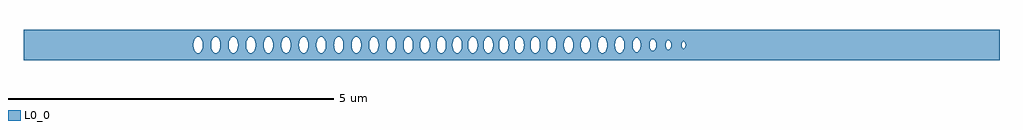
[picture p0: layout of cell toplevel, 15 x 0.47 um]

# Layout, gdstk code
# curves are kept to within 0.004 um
import gdstk
lib = gdstk.Library(unit=1e-6, precision=1e-09)
def P(c, l, *ps):  # polygons
    for p in ps: c.add(gdstk.Polygon(p, *l))
L0_0 = (0, 0)

toplevel = lib.new_cell('toplevel')
P(toplevel, L0_0, [(-4.347,0.016),(-4.343,0.047),(-4.325,0.093),(-4.325,0.234),(-7.5,0.234),(-7.5,-0.016),(-4.888,-0.016),(-4.885,0.039),(-4.872,0.081),(-4.851,0.112),(-4.816,0.128),(-4.789,0.119),(-4.766,0.093),(-4.748,0.047),(-4.744,-0.016),(-4.618,-0.016),(-4.615,0.039),(-4.602,0.081),(-4.581,0.112),(-4.546,0.128),(-4.519,0.119),(-4.496,0.093),(-4.478,0.047),(-4.473,0.008),(-4.478,-0.047),(-4.496,-0.093),(-4.519,-0.119),(-4.546,-0.128),(-4.572,-0.119),(-4.592,-0.098),(-4.607,-0.068),(-4.618,-0.016),(-4.744,-0.016),(-4.748,-0.047),(-4.766,-0.093),(-4.789,-0.119),(-4.816,-0.128),(-4.842,-0.119),(-4.862,-0.098),(-4.877,-0.068),(-4.888,-0.016),(-7.5,-0.016),(-7.5,-0.234),(-4.325,-0.234),(-4.325,-0.093),(-4.345,-0.039)],
  [(-4.314,0.108),(-4.302,0.119),(-4.276,0.128),(-4.249,0.119),(-4.237,0.108),(-4.212,0.061),(-4.203,-0.008),(-4.078,-0.008),(-4.073,0.047),(-4.052,0.098),(-4.024,0.123),(-3.992,0.125),(-3.967,0.108),(-3.947,0.075),(-3.935,0.032),(-3.933,-0.008),(-3.944,-0.068),(-3.959,-0.098),(-3.979,-0.119),(-4.006,-0.128),(-4.032,-0.119),(-4.052,-0.098),(-4.067,-0.068),(-4.078,-0.008),(-4.203,-0.008),(-4.217,-0.075),(-4.249,-0.119),(-4.276,-0.128),(-4.289,-0.125),(-4.311,-0.112),(-4.325,-0.093),(-4.325,-0.234),(-3.705,-0.234),(-3.705,-0.115),(-3.735,-0.128),(-3.762,-0.119),(-3.774,-0.108),(-3.797,-0.068),(-3.808,-0.008),(-3.797,0.068),(-3.774,0.108),(-3.762,0.119),(-3.735,0.128),(-3.705,0.115),(-3.705,0.234),(-4.325,0.234),(-4.325,0.093)],
  [(-2.998,0),(-2.997,0.234),(-3.705,0.234),(-3.705,0.115),(-3.674,0.068),(-3.663,-0.008),(-3.538,-0.008),(-3.533,0.047),(-3.515,0.093),(-3.492,0.119),(-3.465,0.128),(-3.439,0.119),(-3.416,0.093),(-3.398,0.047),(-3.393,-0.008),(-3.268,-0.008),(-3.263,0.047),(-3.245,0.093),(-3.222,0.119),(-3.195,0.128),(-3.169,0.119),(-3.149,0.098),(-3.134,0.068),(-3.123,0.016),(-3.126,-0.039),(-3.137,-0.075),(-3.16,-0.112),(-3.195,-0.128),(-3.222,-0.119),(-3.245,-0.093),(-3.263,-0.047),(-3.268,-0.008),(-3.393,-0.008),(-3.398,-0.047),(-3.416,-0.093),(-3.439,-0.119),(-3.465,-0.128),(-3.492,-0.119),(-3.512,-0.098),(-3.527,-0.068),(-3.538,-0.008),(-3.663,-0.008),(-3.674,-0.068),(-3.705,-0.115),(-3.705,-0.234),(-2.997,-0.234)],
  [(-2.994,0.039),(-2.984,0.075),(-2.968,0.103),(-2.952,0.119),(-2.925,0.128),(-2.899,0.119),(-2.872,0.087),(-2.856,0.039),(-2.853,0),(-2.728,0),(-2.721,0.054),(-2.705,0.093),(-2.682,0.119),(-2.655,0.128),(-2.628,0.119),(-2.602,0.087),(-2.586,0.039),(-2.583,-0.016),(-2.594,-0.068),(-2.609,-0.098),(-2.628,-0.119),(-2.655,-0.128),(-2.682,-0.119),(-2.705,-0.093),(-2.721,-0.054),(-2.728,0),(-2.853,0),(-2.856,-0.039),(-2.872,-0.087),(-2.899,-0.119),(-2.925,-0.128),(-2.952,-0.119),(-2.975,-0.093),(-2.989,-0.061),(-2.997,-0.018),(-2.997,-0.234),(-2.431,-0.234),(-2.431,-0.098),(-2.451,-0.054),(-2.457,-0.016),(-2.451,0.054),(-2.431,0.098),(-2.431,0.234),(-2.997,0.234)],
  [(-2.424,0.108),(-2.412,0.119),(-2.385,0.128),(-2.358,0.119),(-2.346,0.108),(-2.326,0.075),(-2.318,0.047),(-2.313,-0.016),(-2.188,-0.016),(-2.185,0.039),(-2.162,0.098),(-2.134,0.123),(-2.102,0.125),(-2.077,0.108),(-2.057,0.075),(-2.048,0.047),(-2.043,-0.008),(-2.048,-0.047),(-2.066,-0.093),(-2.089,-0.119),(-2.116,-0.128),(-2.142,-0.119),(-2.162,-0.098),(-2.177,-0.068),(-2.188,-0.016),(-2.313,-0.016),(-2.326,-0.075),(-2.358,-0.119),(-2.385,-0.128),(-2.399,-0.125),(-2.431,-0.098),(-2.431,-0.234),(-1.818,-0.234),(-1.818,-0.115),(-1.849,-0.128),(-1.884,-0.112),(-1.905,-0.081),(-1.921,-0.016),(-1.916,0.047),(-1.905,0.081),(-1.888,0.108),(-1.876,0.119),(-1.849,0.128),(-1.818,0.115),(-1.818,0.234),(-2.431,0.234),(-2.431,0.098)],
  [(-1.779,-0.032),(-1.79,-0.075),(-1.818,-0.115),(-1.818,-0.234),(-1.263,-0.234),(-1.263,-0.05),(-1.291,-0.108),(-1.316,-0.125),(-1.339,-0.126),(-1.365,-0.112),(-1.383,-0.087),(-1.402,-0.016),(-1.4,0.032),(-1.391,0.068),(-1.376,0.098),(-1.357,0.119),(-1.33,0.128),(-1.303,0.119),(-1.28,0.093),(-1.263,0.047),(-1.263,0.234),(-1.818,0.234),(-1.818,0.115),(-1.799,0.093),(-1.785,0.061),(-1.777,-0.008),(-1.659,-0.008),(-1.654,0.047),(-1.636,0.093),(-1.613,0.119),(-1.587,0.128),(-1.56,0.119),(-1.54,0.098),(-1.516,0.032),(-1.515,-0.024),(-1.525,-0.068),(-1.548,-0.108),(-1.577,-0.126),(-1.605,-0.123),(-1.633,-0.098),(-1.648,-0.068),(-1.659,-0.008),(-1.777,-0.008)],
  [(-1.258,-0.016),(-1.263,-0.047),(-1.263,-0.234),(-0.655,-0.234),(-0.655,-0.068),(-0.666,-0.016),(-0.664,0.032),(-0.655,0.067),(-0.655,0.234),(-1.263,0.234),(-1.263,0.047),(-1.257,0),(-1.152,0),(-1.147,0.047),(-1.129,0.093),(-1.106,0.119),(-1.079,0.128),(-1.053,0.119),(-1.026,0.087),(-1.01,0.039),(-1.007,-0.008),(-0.907,-0.008),(-0.898,0.061),(-0.873,0.108),(-0.861,0.119),(-0.834,0.128),(-0.799,0.112),(-0.773,0.068),(-0.764,0.032),(-0.762,-0.016),(-0.781,-0.087),(-0.795,-0.108),(-0.816,-0.123),(-0.848,-0.125),(-0.877,-0.103),(-0.898,-0.061),(-0.907,-0.008),(-1.007,-0.008),(-1.01,-0.039),(-1.026,-0.087),(-1.053,-0.119),(-1.079,-0.128),(-1.106,-0.119),(-1.129,-0.093),(-1.147,-0.047),(-1.152,0),(-1.257,0)],
  [(-0.19,0.016),(-0.18,0.068),(-0.149,0.115),(-0.149,0.234),(-0.655,0.234),(-0.655,0.068),(-0.64,0.098),(-0.62,0.119),(-0.594,0.128),(-0.567,0.119),(-0.544,0.093),(-0.53,0.061),(-0.522,-0.016),(-0.428,-0.016),(-0.425,0.039),(-0.412,0.081),(-0.391,0.112),(-0.356,0.128),(-0.329,0.119),(-0.306,0.093),(-0.29,0.054),(-0.283,0),(-0.29,-0.054),(-0.306,-0.093),(-0.329,-0.119),(-0.356,-0.128),(-0.382,-0.119),(-0.402,-0.098),(-0.417,-0.068),(-0.428,-0.016),(-0.522,-0.016),(-0.526,-0.047),(-0.544,-0.093),(-0.559,-0.112),(-0.58,-0.125),(-0.594,-0.128),(-0.62,-0.119),(-0.64,-0.098),(-0.655,-0.068),(-0.655,-0.234),(-0.149,-0.234),(-0.149,-0.115),(-0.18,-0.068),(-0.19,-0.024)],
  [(0.294,0.016),(0.304,0.068),(0.33,0.112),(0.365,0.128),(0.392,0.119),(0.404,0.108),(0.404,0.234),(-0.149,0.234),(-0.149,0.115),(-0.119,0.128),(-0.092,0.119),(-0.08,0.108),(-0.057,0.068),(-0.046,-0.008),(0.048,-0.008),(0.053,0.047),(0.071,0.093),(0.094,0.119),(0.12,0.128),(0.147,0.119),(0.167,0.098),(0.182,0.068),(0.193,0.008),(0.188,-0.047),(0.17,-0.093),(0.147,-0.119),(0.12,-0.128),(0.094,-0.119),(0.074,-0.098),(0.059,-0.068),(0.048,-0.008),(-0.046,-0.008),(-0.057,-0.068),(-0.08,-0.108),(-0.092,-0.119),(-0.119,-0.128),(-0.149,-0.115),(-0.149,-0.234),(0.404,-0.234),(0.404,-0.108),(0.392,-0.119),(0.365,-0.128),(0.33,-0.112),(0.307,-0.075),(0.298,-0.047)],
  [(0.404,0.234),(0.404,0.108),(0.433,0.047),(0.437,-0.016),(0.546,-0.016),(0.549,0.039),(0.56,0.075),(0.583,0.112),(0.618,0.128),(0.645,0.119),(0.668,0.093),(0.686,0.047),(0.691,0.008),(0.686,-0.047),(0.668,-0.093),(0.645,-0.119),(0.618,-0.128),(0.592,-0.119),(0.572,-0.098),(0.557,-0.068),(0.546,-0.016),(0.437,-0.016),(0.424,-0.075),(0.404,-0.108),(0.404,-0.234),(0.949,-0.234),(0.949,-0.018),(0.941,-0.061),(0.927,-0.093),(0.904,-0.119),(0.877,-0.128),(0.85,-0.119),(0.831,-0.098),(0.816,-0.068),(0.805,-0.016),(0.808,0.039),(0.821,0.081),(0.842,0.112),(0.868,0.126),(0.891,0.125),(0.92,0.103),(0.941,0.061),(0.949,0.016),(0.949,0.234)],
  [(1.592,0.032),(1.612,0.093),(1.639,0.121),(1.639,0.234),(0.949,0.234),(0.949,-0.008),(1.065,-0.008),(1.07,0.047),(1.088,0.093),(1.111,0.119),(1.138,0.128),(1.164,0.119),(1.191,0.087),(1.207,0.039),(1.21,-0.008),(1.326,-0.008),(1.331,0.047),(1.349,0.093),(1.372,0.119),(1.398,0.128),(1.425,0.119),(1.445,0.098),(1.462,0.061),(1.471,0.008),(1.466,-0.047),(1.448,-0.093),(1.425,-0.119),(1.398,-0.128),(1.372,-0.119),(1.352,-0.098),(1.337,-0.068),(1.326,-0.008),(1.21,-0.008),(1.207,-0.039),(1.191,-0.087),(1.164,-0.119),(1.138,-0.128),(1.111,-0.119),(1.088,-0.093),(1.07,-0.047),(1.065,-0.008),(0.949,-0.008),(0.949,-0.234),(1.639,-0.234),(1.639,-0.121),(1.615,-0.098),(1.598,-0.061),(1.589,-0.008)],
  [(1.648,0.125),(1.68,0.123),(1.708,0.098),(1.729,0.047),(1.734,0),(1.86,0),(1.866,0.047),(1.886,0.089),(1.911,0.108),(1.934,0.108),(1.953,0.096),(1.971,0.07),(1.982,0.034),(1.985,-0.007),(1.979,-0.047),(1.965,-0.08),(1.946,-0.102),(1.923,-0.11),(1.896,-0.099),(1.877,-0.075),(1.863,-0.034),(1.86,0),(1.734,0),(1.729,-0.047),(1.708,-0.098),(1.675,-0.125),(1.662,-0.128),(1.639,-0.121),(1.639,-0.234),(2.203,-0.234),(2.203,-0.074),(2.179,-0.091),(2.151,-0.083),(2.131,-0.054),(2.121,-0.011),(2.124,0.034),(2.142,0.074),(2.173,0.092),(2.186,0.089),(2.203,0.074),(2.203,0.234),(1.639,0.234),(1.639,0.121)],
  [(2.223,-0.023),(2.203,-0.074),(2.203,-0.234),(7.5,-0.234),(7.5,0.234),(2.203,0.234),(2.203,0.074),(2.22,0.039),(2.224,-0.009),(2.37,-0.009),(2.381,0.05),(2.394,0.067),(2.409,0.074),(2.43,0.067),(2.441,0.054),(2.454,0),(2.612,0),(2.622,0.041),(2.642,0.056),(2.656,0.052),(2.666,0.041),(2.676,0.007),(2.669,-0.036),(2.646,-0.056),(2.632,-0.052),(2.622,-0.041),(2.612,0),(2.454,0),(2.441,-0.054),(2.415,-0.074),(2.387,-0.06),(2.37,-0.009),(2.224,-0.009)])

lib.write_gds('toplevel.gds')
